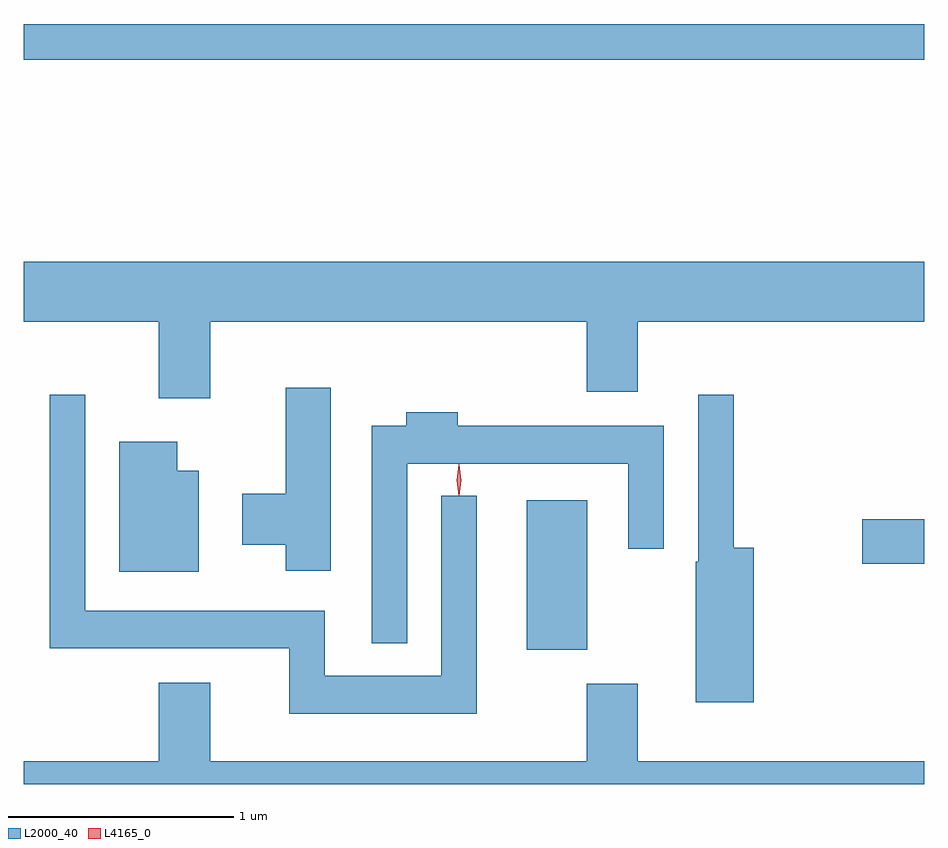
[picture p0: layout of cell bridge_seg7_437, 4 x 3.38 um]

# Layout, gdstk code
import gdstk
lib = gdstk.Library(unit=1e-6, precision=1e-09)
def R(c, l, rs):  # rectangles x0, y0, x1, y1
    for r in rs: c.add(gdstk.rectangle(r[:2], r[2:], *l))
def P(c, l, *ps):  # polygons
    for p in ps: c.add(gdstk.Polygon(p, *l))
L2000_40 = (2000, 40)
L4165_0 = (4165, 0)

bridge_seg7_437 = lib.new_cell('bridge_seg7_437')
R(bridge_seg7_437, L2000_40, [(1170.226,1701.761,1170.494,1702.424), (1171.716,1702.141,1171.991,1702.339), (1167.991,1704.381,1171.991,1704.539)])
P(bridge_seg7_437, L2000_40, [(1168.819,1703.216),(1170.491,1703.216),(1170.491,1702.906),(1170.719,1702.906),(1170.719,1703.216),(1171.991,1703.216),(1171.991,1703.484),(1167.991,1703.484),(1167.991,1703.216),(1168.591,1703.216),(1168.591,1702.876),(1168.819,1702.876)],
  [(1169.354,1702.924),(1169.156,1702.924),(1169.156,1702.454),(1168.961,1702.454),(1168.961,1702.226),(1169.156,1702.226),(1169.156,1702.111),(1169.354,1702.111)],
  [(1170.004,1702.443),(1169.846,1702.443),(1169.846,1701.644),(1169.329,1701.644),(1169.329,1701.934),(1168.264,1701.934),(1168.264,1702.893),(1168.106,1702.893),(1168.106,1701.766),(1169.171,1701.766),(1169.171,1701.476),(1170.004,1701.476)],
  [(1171.234,1702.214),(1171.144,1702.214),(1171.144,1702.893),(1170.986,1702.893),(1170.986,1702.15),(1170.976,1702.15),(1170.976,1701.526),(1171.234,1701.526)],
  [(1169.694,1702.586),(1170.676,1702.586),(1170.676,1702.208),(1170.834,1702.208),(1170.834,1702.754),(1169.919,1702.754),(1169.919,1702.814),(1169.691,1702.814),(1169.691,1702.754),(1169.536,1702.754),(1169.536,1701.788),(1169.694,1701.788)],
  [(1168.769,1702.554),(1168.674,1702.554),(1168.674,1702.684),(1168.416,1702.684),(1168.416,1702.106),(1168.769,1702.106)],
  [(1171.991,1701.264),(1170.719,1701.264),(1170.719,1701.609),(1170.491,1701.609),(1170.491,1701.264),(1168.819,1701.264),(1168.819,1701.614),(1168.591,1701.614),(1168.591,1701.264),(1167.991,1701.264),(1167.991,1701.164),(1171.991,1701.164)])
P(bridge_seg7_437, L4165_0, [(1169.924,1702.444),(1169.915,1702.513),(1169.924,1702.583),(1169.925,1702.583),(1169.926,1702.583),(1169.935,1702.513),(1169.926,1702.444),(1169.925,1702.444)],
  [(1169.924,1702.447),(1169.915,1702.514),(1169.924,1702.58),(1169.925,1702.581),(1169.926,1702.58),(1169.935,1702.514),(1169.926,1702.447),(1169.925,1702.447)])

lib.write_gds('bridge_seg7_437.gds')
